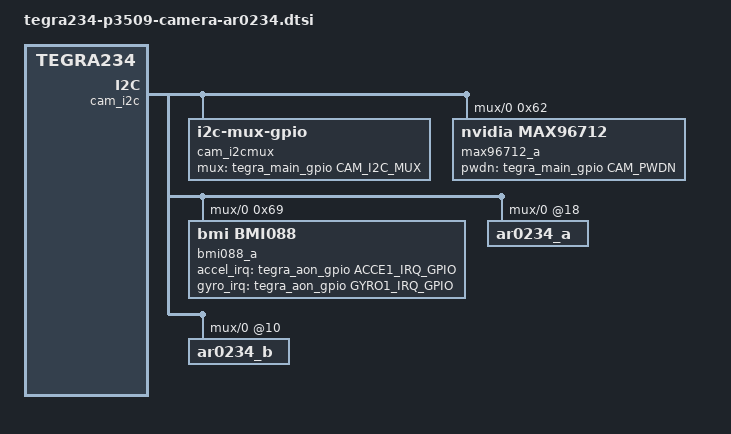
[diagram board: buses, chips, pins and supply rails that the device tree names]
/*
 * Copyright (c) 2018-2019, NVIDIA CORPORATION.  All rights reserved.
 *
 * This program is free software; you can redistribute it and/or modify
 * it under the terms of the GNU General Public License as published by
 * the Free Software Foundation; either version 2 of the License, or
 * (at your option) any later version.
 *
 * This program is distributed in the hope that it will be useful, but WITHOUT
 * ANY WARRANTY; without even the implied warranty of MERCHANTABILITY or
 * FITNESS FOR A PARTICULAR PURPOSE.  See the GNU General Public License for
 * more details.
 *
 * You should have received a copy of the GNU General Public License
 * along with this program.  If not, see <http://www.gnu.org/licenses/>.
 */
#include "tegra234-camera-ar0234.dtsi"


// #define CAM0_RST_L TEGRA234_MAIN_GPIO(H, 3)
// #define CAM0_PWDN TEGRA234_MAIN_GPIO(H, 6)
// #define CAM1_RST_L TEGRA234_MAIN_GPIO(T, 6)
// #define CAM1_PWDN TEGRA234_MAIN_GPIO(T, 5)
// #define PWR_EN TEGRA234_MAIN_GPIO(M, 5)

#define GYRO1_IRQ_GPIO TEGRA234_AON_GPIO(AA, 3)
#define ACCE1_IRQ_GPIO TEGRA234_AON_GPIO(AA, 1)

#define CAM_I2C_MUX TEGRA234_MAIN_GPIO(H, 6)  // cam0_mclk occupied

#define	CAM_PWDN TEGRA234_MAIN_GPIO(P, 0)

/* camera control gpio definitions */

/ {
	cam_i2cmux {
		status = "okay";
		compatible = "i2c-mux-gpio";
		#address-cells = <1>;
		#size-cells = <0>;
		i2c-parent = <&cam_i2c>;
		mux-gpios = <&tegra_main_gpio CAM_I2C_MUX GPIO_ACTIVE_HIGH>;
		i2c@0 {
			reg = <0>;
			#address-cells = <1>;
			#size-cells = <0>;
			status = "okay";

			max96712_a@62 {
					compatible = "nvidia,max96712";
					reg = <0x62>;
					channel = "a";
					pwdn-gpios = <&tegra_main_gpio CAM_PWDN GPIO_ACTIVE_HIGH>;
			};

			bmi088_a@69 {
				compatible = "bmi,bmi088";
				reg = <0x69>; // <-- Must be gyroscope I2C address
				accel_i2c_addr = <0x19>; // Must be specified
				accel_irq_gpio = <&tegra_aon_gpio ACCE1_IRQ_GPIO GPIO_ACTIVE_HIGH>;
				gyro_irq_gpio = <&tegra_aon_gpio GYRO1_IRQ_GPIO GPIO_ACTIVE_HIGH>;
				accel_matrix = [01 00 00 00 01 00 00 00 01];
				gyro_matrix = [01 00 00 00 01 00 00 00 01];
			};

			ar0234_a@18 {
				def-addr = <0x18>;
				/* Define any required hw resources needed by driver */
				/* ie. clocks, io pins, power sources */
				clocks = <&bpmp_clks TEGRA234_CLK_EXTPERIPH1>,
						<&bpmp_clks TEGRA234_CLK_EXTPERIPH1>;
				clock-names = "extperiph1", "pllp_grtba";
				mclk = "extperiph1";
				channel = "a";
				has-eeprom;
				status = "okay";
			};
			ar0234_b@10 {
				def-addr = <0x10>;
				/* Define any required hw resources needed by driver */
				/* ie. clocks, io pins, power sources */
				clocks = <&bpmp_clks TEGRA234_CLK_EXTPERIPH1>,
								<&bpmp_clks TEGRA234_CLK_EXTPERIPH1>;
				clock-names = "extperiph1", "pllp_grtba";
				mclk = "extperiph1";
				channel = "n";
				has-eeprom;
				status = "okay";
			};
		};
		// i2c@1 {
		// 	reg = <1>;
		// 	#address-cells = <1>;
		// 	#size-cells = <0>;
		// 	status = "okay";

		// 	max96712_a@62 {
		// 		compatible = "nvidia,max96712";
		// 		reg = <0x62>;
		// 		channel = "b";
		// 	};

		// 	bmi088_a@69 {
		// 		compatible = "bmi,bmi088";
		// 		reg = <0x69>; // <-- Must be gyroscope I2C address
		// 		accel_i2c_addr = <0x19>; // Must be specified
		// 		accel_irq_gpio = <&tegra_aon_gpio ACCE1_IRQ_GPIO GPIO_ACTIVE_HIGH>;
		// 		gyro_irq_gpio = <&tegra_aon_gpio GYRO1_IRQ_GPIO GPIO_ACTIVE_HIGH>;
		// 		accel_matrix = [01 00 00 00 01 00 00 00 01];
		// 		gyro_matrix = [01 00 00 00 01 00 00 00 01];
		// 	};

		// 	ar0234_c@18 {
		// 		def-addr = <0x18>;
		// 		/* Define any required hw resources needed by driver */
		// 		/* ie. clocks, io pins, power sources */
		// 		clocks = <&bpmp_clks TEGRA234_CLK_EXTPERIPH1>,
		// 				<&bpmp_clks TEGRA234_CLK_EXTPERIPH1>;
		// 		clock-names = "extperiph1", "pllp_grtba";
		// 		mclk = "extperiph1";
		// 		channel = "b";
		// 		has-eeprom;
		// 		status = "okay";
		// 	};
		// 	ar0234_d@10 {
		// 		def-addr = <0x10>;
		// 		/* Define any required hw resources needed by driver */
		// 		/* ie. clocks, io pins, power sources */
		// 		clocks = <&bpmp_clks TEGRA234_CLK_EXTPERIPH1>,
		// 						<&bpmp_clks TEGRA234_CLK_EXTPERIPH1>;
		// 		clock-names = "extperiph1", "pllp_grtba";
		// 		mclk = "extperiph1";
		// 		channel = "n";
		// 		has-eeprom;
		// 		status = "okay";
		// 	};
		// };
	};
};
